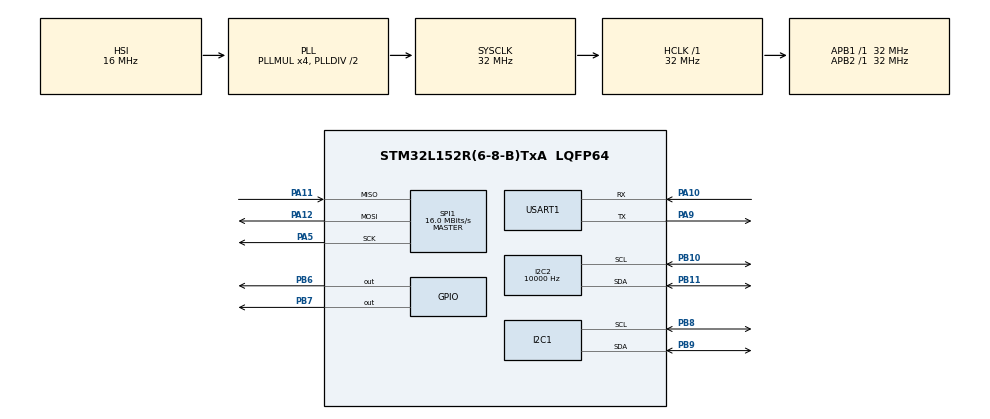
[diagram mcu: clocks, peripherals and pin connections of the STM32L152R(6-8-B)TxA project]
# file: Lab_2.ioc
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I2C2.ClockSpeed=10000
Mcu.Family=STM32L1
Mcu.Name=STM32L152R(6-8-B)TxA
Mcu.Package=LQFP64
NVIC.PriorityGroup=NVIC_PRIORITYGROUP_4
NVIC.TIM2_IRQn=true\:15\:0\:false\:false\:true\:false\:true\:true
NVIC.TimeBase=TIM2_IRQn
NVIC.TimeBaseIP=TIM2
NVIC.USART1_IRQn=true\:0\:0\:false\:false\:true\:true\:true\:true
PA10.Mode=Asynchronous
PA10.Signal=USART1_RX
PA11.Mode=Full_Duplex_Master
PA11.Signal=SPI1_MISO
PA12.Mode=Full_Duplex_Master
PA12.Signal=SPI1_MOSI
PA13.Mode=Serial_Wire
PA13.Signal=SYS_JTMS-SWDIO
PA14.Mode=Serial_Wire
PA14.Signal=SYS_JTCK-SWCLK
PA5.Mode=Full_Duplex_Master
PA5.Signal=SPI1_SCK
PA9.Mode=Asynchronous
PA9.Signal=USART1_TX
PB10.Mode=I2C
PB10.Signal=I2C2_SCL
PB11.Mode=I2C
PB11.Signal=I2C2_SDA
PB6.Signal=GPIO_Output
PB7.Signal=GPIO_Output
PB8.Mode=I2C
PB8.Signal=I2C1_SCL
PB9.Mode=I2C
PB9.Signal=I2C1_SDA
ProjectManager.HeapSize=0x200
ProjectManager.StackSize=0x400
ProjectManager.TargetToolchain=Makefile
RCC.48MHZClocksFreq_Value=32000000
RCC.AHBFreq_Value=32000000
RCC.APB1Freq_Value=32000000
RCC.APB1TimFreq_Value=32000000
RCC.APB2Freq_Value=32000000
RCC.APB2TimFreq_Value=32000000
RCC.HCLKFreq_Value=32000000
RCC.HSE_VALUE=24000000
RCC.HSI_VALUE=16000000
RCC.LSE_VALUE=32768
RCC.MSI_VALUE=2097000
RCC.PLLMUL=RCC_PLL_MUL4
RCC.SYSCLKFreq_VALUE=32000000
RCC.SYSCLKSource=RCC_SYSCLKSOURCE_PLLCLK
RCC.VCOOutputFreq_Value=64000000
SPI1.CalculateBaudRate=16.0 MBits/s
SPI1.Direction=SPI_DIRECTION_2LINES
SPI1.Mode=SPI_MODE_MASTER
SPI1.VirtualType=VM_MASTER
USART1.VirtualMode=VM_ASYNC
VP_SYS_VS_tim2.Mode=TIM2
board=custom

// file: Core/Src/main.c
/* USER CODE BEGIN Header */
/**
  ******************************************************************************
  * @file           : main.c
  * @brief          : Main program body
  ******************************************************************************
  * @attention
  *
  * Copyright (c) 2024 STMicroelectronics.
  * All rights reserved.
  *
  * This software is licensed under terms that can be found in the LICENSE file
  * in the root directory of this software component.
  * If no LICENSE file comes with this software, it is provided AS-IS.
  *
  ******************************************************************************

  Developers:
  Serebrennikov A.
  Dobrotin A.
  Taralo A.

  */
/* USER CODE END Header */
#include "main.h"
#include "i2c.h"
#include "spi.h"
#include "usart.h"
#include "gpio.h"

/* USER CODE BEGIN Includes */
#include "FreeRTOS.h"
#include "task.h"
#include "queue.h"
#include "semphr.h"

#include "BME280.h"
#include "vl6180.h"
#include "Accel.h"
/* USER CODE END Includes */

/* USER CODE BEGIN PD */
#define STACK_SIZE 128

#define P_THS 120000
#define T_THS 27
/* USER CODE END PD */

/* USER CODE BEGIN PV */
volatile int8_t switch_state = -1;
volatile int8_t new_switch_state;
volatile uint32_t Tim2Cnt=0;
volatile uint32_t TickCnt;
volatile uint16_t SwitchCnt=0;
extern State_ptr VL6180_State;
extern VL6180x_AlsData_t Als;

QueueHandle_t queue_uart;
SemaphoreHandle_t xSemaphore;
/* USER CODE END PV */

void SystemClock_Config(void);
/* USER CODE BEGIN PFP */

TaskHandle_t BlueTaskHandle;

void GreenTask(void *argument);
void BlueTask(void *argument);
void BMETask(void *argument);
void VLXTask(void *argument);
void ACCTask(void *argument);
void UART_print(void *argument);
/* USER CODE END PFP */

int main(void)
{

  /* MCU Configuration--------------------------------------------------------*/

  /* Reset of all peripherals, Initializes the Flash interface and the Systick. */
  HAL_Init();

  /* Configure the system clock */
  SystemClock_Config();

  /* Initialize all configured peripherals */
  MX_GPIO_Init();
  MX_I2C2_Init();
  MX_USART1_UART_Init();
  MX_I2C1_Init();
  MX_SPI1_Init();
  /* USER CODE BEGIN 2 */

  xTaskCreate(GreenTask, "GreenTask", 32, NULL, tskIDLE_PRIORITY + 2, NULL);
  xTaskCreate(BlueTask, "BlueTask", 32, NULL, tskIDLE_PRIORITY + 2, &BlueTaskHandle);
  xTaskCreate(BMETask, "BMETask", 256, NULL, tskIDLE_PRIORITY + 2, NULL);
  xTaskCreate(VLXTask, "VLXTask", 128, NULL, tskIDLE_PRIORITY + 2, NULL);
  xTaskCreate(ACCTask, "ACCTask", 150, NULL, tskIDLE_PRIORITY + 2, NULL);
  xTaskCreate(UART_print, "UART_print", 80, NULL, tskIDLE_PRIORITY + 2, NULL);

  queue_uart = xQueueCreate( 256, 32 );
  xSemaphore = xSemaphoreCreateMutex();

  vTaskSuspend(BlueTaskHandle);
  vTaskStartScheduler();
  /* USER CODE END 2 */

  /* Infinite loop */
  while (1)
  {

  }
}

void SystemClock_Config(void)
{
  RCC_OscInitTypeDef RCC_OscInitStruct = {0};
  RCC_ClkInitTypeDef RCC_ClkInitStruct = {0};

  /** Configure the main internal regulator output voltage
  */
  __HAL_PWR_VOLTAGESCALING_CONFIG(PWR_REGULATOR_VOLTAGE_SCALE1);

  /** Initializes the RCC Oscillators according to the specified parameters
  * in the RCC_OscInitTypeDef structure.
  */
  RCC_OscInitStruct.OscillatorType = RCC_OSCILLATORTYPE_HSI;
  RCC_OscInitStruct.HSIState = RCC_HSI_ON;
  RCC_OscInitStruct.HSICalibrationValue = RCC_HSICALIBRATION_DEFAULT;
  RCC_OscInitStruct.PLL.PLLState = RCC_PLL_ON;
  RCC_OscInitStruct.PLL.PLLSource = RCC_PLLSOURCE_HSI;
  RCC_OscInitStruct.PLL.PLLMUL = RCC_PLL_MUL4;
  RCC_OscInitStruct.PLL.PLLDIV = RCC_PLL_DIV2;
  if (HAL_RCC_OscConfig(&RCC_OscInitStruct) != HAL_OK)
  {
    Error_Handler();
  }

  /** Initializes the CPU, AHB and APB buses clocks
  */
  RCC_ClkInitStruct.ClockType = RCC_CLOCKTYPE_HCLK|RCC_CLOCKTYPE_SYSCLK
                              |RCC_CLOCKTYPE_PCLK1|RCC_CLOCKTYPE_PCLK2;
  RCC_ClkInitStruct.SYSCLKSource = RCC_SYSCLKSOURCE_PLLCLK;
  RCC_ClkInitStruct.AHBCLKDivider = RCC_SYSCLK_DIV1;
  RCC_ClkInitStruct.APB1CLKDivider = RCC_HCLK_DIV1;
  RCC_ClkInitStruct.APB2CLKDivider = RCC_HCLK_DIV1;

  if (HAL_RCC_ClockConfig(&RCC_ClkInitStruct, FLASH_LATENCY_1) != HAL_OK)
  {
    Error_Handler();
  }
}

/* USER CODE BEGIN 4 */
void GreenTask(void *argument)
{
  while(1)
  {
	  HAL_GPIO_WritePin(GPIOB, GPIO_PIN_7, GPIO_PIN_SET);
	  vTaskDelay(1000/ portTICK_PERIOD_MS);
	  HAL_GPIO_WritePin(GPIOB, GPIO_PIN_7, GPIO_PIN_RESET);
    vTaskDelay(1000/ portTICK_PERIOD_MS);
  }
  	vTaskDelete(NULL);
}

void BlueTask(void *argument)
{
  while(1)
  {
	  HAL_GPIO_WritePin(GPIOB, GPIO_PIN_6, GPIO_PIN_SET);
	  vTaskDelay(100/ portTICK_PERIOD_MS);
	  HAL_GPIO_WritePin(GPIOB, GPIO_PIN_6, GPIO_PIN_RESET);
    vTaskDelay(100/ portTICK_PERIOD_MS);
  }
	vTaskDelete(NULL);
}

void BMETask(void *argument)
{
  volatile uint32_t pressure = 0;
  volatile float temperature = 0;
  uint8_t str_tx[32];

  BME280_Init();

  while(1)
  {
    pressure = BME280_ReadPressure();
    temperature = BME280_ReadTemperature();

    sprintf(str_tx, "Temp: %2.2fC  Press: %dPa\n\n", temperature, pressure);

    xQueueSend(queue_uart, str_tx, (( TickType_t ) 10 ) != pdPASS);
    //HAL_UART_Transmit(&huart1, str, strlen(str), 1000);

    if((pressure > P_THS) || (temperature > T_THS))
    {
      vTaskResume(BlueTaskHandle);
      sprintf(str_tx, "Warning! Check data!  \n\n");
      xQueueSend(queue_uart, str_tx, (( TickType_t ) 10 ) != pdPASS);
      ///HAL_UART_Transmit(&huart1, str, strlen(str), 1000);
    }
    else
    {
      HAL_GPIO_WritePin(GPIOB, GPIO_PIN_6, GPIO_PIN_RESET);
      vTaskSuspend(BlueTaskHandle);
    }
    vTaskDelay(1000 / portTICK_PERIOD_MS);
  }
	vTaskDelete(NULL);
}

void VLXTask(void *argument)
{
  uint8_t str_tx[32];
  xSemaphoreTake( xSemaphore, portMAX_DELAY );
  if (stmpe1600_ini())
  {
		if(vl6180_ini())
    {
      xSemaphoreGive( xSemaphore);
      vTaskDelete(NULL);
    }
  }
  xSemaphoreGive( xSemaphore);

  while(1)
  {
    xSemaphoreTake( xSemaphore, portMAX_DELAY );
    vl6180_ReadData();
    xSemaphoreGive( xSemaphore);

    sprintf(str_tx, "als: %lu \n\n", Als.lux);
    xQueueSend(queue_uart, str_tx, (( TickType_t ) 10 ) != pdPASS);

    vTaskDelay(1000/ portTICK_PERIOD_MS);
  }
  vTaskDelete(NULL);

}

void ACCTask(void *argument)
{
  int16_t x, y, z;
  uint8_t str_tx[32];
  LIS331_t lis331;
  lis331.mode = USE_I2C;
  lis331.address = 0x18;

  xSemaphoreTake( xSemaphore, portMAX_DELAY );
  LIS331_Init(&lis331, USE_I2C);
  xSemaphoreGive( xSemaphore);

  while(1)
  {
    xSemaphoreTake( xSemaphore, portMAX_DELAY );
    LIS331_ReadAxes(&lis331, &x, &y, &z);
    xSemaphoreGive( xSemaphore);

    sprintf(str_tx, "x: %d  y: %d  z: %d\n\n", x, y, z);

    xQueueSend(queue_uart, str_tx, portMAX_DELAY);

    vTaskDelay(1000/ portTICK_PERIOD_MS);
  }

  vTaskDelete(NULL);
}

void UART_print(void *argument)
{
  const uint8_t rx_str[32];

  while(1)
  {
    xQueueReceive(queue_uart, (void* const)rx_str, portMAX_DELAY);
    HAL_UART_Transmit(&huart1, rx_str, strlen((const char *)rx_str), 1000);
  }

  vTaskDelete(NULL);

}
/* USER CODE END 4 */

void HAL_TIM_PeriodElapsedCallback(TIM_HandleTypeDef *htim)
{
  if (htim->Instance == TIM2) {
    HAL_IncTick();
  }
}

void Error_Handler(void)
{
  __disable_irq();
  while (1)
  {
  }
}
